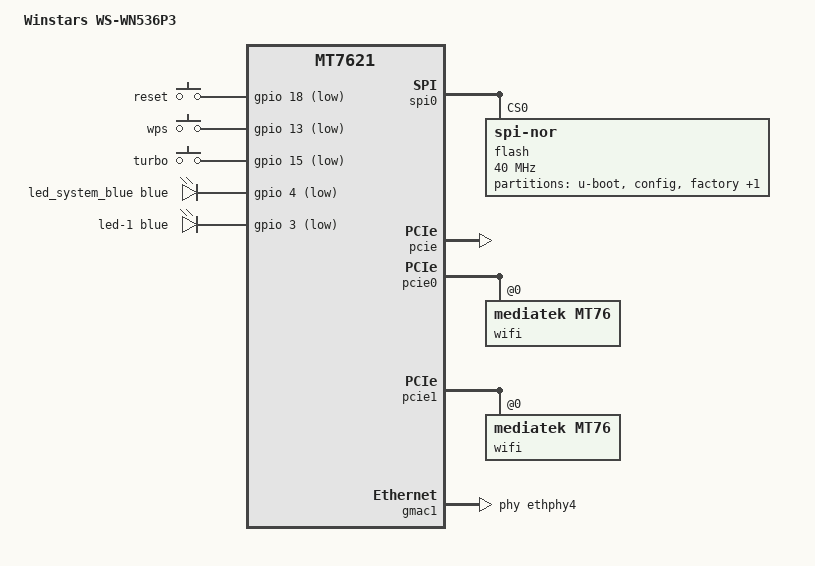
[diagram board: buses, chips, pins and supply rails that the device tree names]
// SPDX-License-Identifier: GPL-2.0-or-later OR MIT

#include "mt7621.dtsi"

#include <dt-bindings/gpio/gpio.h>
#include <dt-bindings/input/input.h>
#include <dt-bindings/leds/common.h>

/ {
	compatible = "winstars,ws-wn536p3", "mediatek,mt7621-soc";
	model = "Winstars WS-WN536P3";

	aliases {
		led-boot = &led_system_blue;
		led-failsafe = &led_system_blue;
		led-running = &led_system_blue;
		led-upgrade = &led_system_blue;
		label-mac-device = &gmac0;
	};

	chosen {
		bootargs = "console=ttyS0,115200";
	};

	keys {
		compatible = "gpio-keys";

		reset {
			label = "reset";
			gpios = <&gpio 18 GPIO_ACTIVE_LOW>;
			linux,code = <KEY_RESTART>;
		};

		wps {
			label = "wps";
			gpios = <&gpio 13 GPIO_ACTIVE_LOW>;
			linux,code = <KEY_WPS_BUTTON>;
		};

		turbo {
			label = "turbo";
			gpios = <&gpio 15 GPIO_ACTIVE_LOW>;
			linux,code = <BTN_0>;
		};
	};

	leds {
		compatible = "gpio-leds";

		led_system_blue: led-0 {
			color = <LED_COLOR_ID_BLUE>;
			function = LED_FUNCTION_STATUS;
			gpios = <&gpio 4 GPIO_ACTIVE_LOW>;
		};

		led-1 {
			color = <LED_COLOR_ID_BLUE>;
			function = LED_FUNCTION_WLAN;
			linux,default-trigger = "phy0tpt";
			gpios = <&gpio 3 GPIO_ACTIVE_LOW>;
		};
	};
};

&spi0 {
	status = "okay";

	flash@0 {
		compatible = "jedec,spi-nor";
		reg = <0>;
		spi-max-frequency = <40000000>;

		partitions {
			compatible = "fixed-partitions";
			#address-cells = <1>;
			#size-cells = <1>;

			partition@0 {
				label = "u-boot";
				reg = <0x0 0x30000>;
				read-only;
			};

			partition@30000 {
				label = "config";
				reg = <0x30000 0x10000>;
				read-only;
			};

			partition@40000 {
				label = "factory";
				reg = <0x40000 0x10000>;
				read-only;

				nvmem-layout {
					compatible = "fixed-layout";
					#address-cells = <1>;
					#size-cells = <1>;

					eeprom_factory_0: eeprom@0 {
						reg = <0x0 0x400>;
					};

					eeprom_factory_8000: eeprom@8000 {
						reg = <0x8000 0x4da8>;
					};

					macaddr_factory_e000: macaddr@e000 {
						reg = <0xe000 0x6>;
					};

					macaddr_factory_e006: macaddr@e006 {
						reg = <0xe006 0x6>;
					};
				};
			};

			partition@50000 {
				compatible = "denx,uimage";
				label = "firmware";
				reg = <0x50000 0xfb0000>;
			};
		};
	};
};

&pcie {
	status = "okay";
};

&pcie0 {
	wifi@0,0 {
		compatible = "mediatek,mt76";
		reg = <0x0000 0 0 0 0>;
		ieee80211-freq-limit = <2400000 2500000>;
		nvmem-cells = <&eeprom_factory_0>;
		nvmem-cell-names = "eeprom";
	};
};

&pcie1 {
	wifi@0,0 {
		compatible = "mediatek,mt76";
		reg = <0x0000 0 0 0 0>;
		ieee80211-freq-limit = <5000000 6000000>;
		nvmem-cells = <&eeprom_factory_8000>;
		nvmem-cell-names = "eeprom";
	};
};

&gmac0 {
	nvmem-cells = <&macaddr_factory_e000>;
	nvmem-cell-names = "mac-address";
};

&gmac1 {
	status = "okay";
	label = "wan";
	phy-handle = <&ethphy4>;

	nvmem-cells = <&macaddr_factory_e006>;
	nvmem-cell-names = "mac-address";
};

&ethphy4 {
	/delete-property/ interrupts;
};

&switch0 {
	ports {
		port@0 {
			status = "okay";
			label = "lan4";
		};

		port@1 {
			status = "okay";
			label = "lan3";
		};

		port@2 {
			status = "okay";
			label = "lan2";
		};

		port@3 {
			status = "okay";
			label = "lan1";
		};
	};
};

&state_default {
	gpio {
		groups = "i2c", "jtag", "wdt";
		function = "gpio";
	};
};
